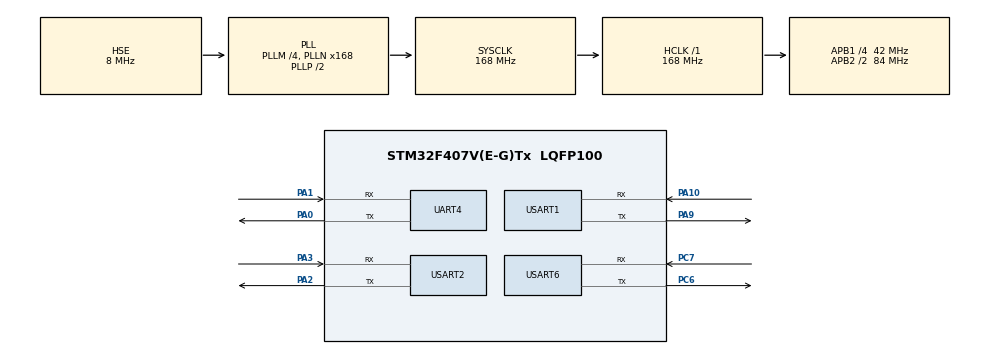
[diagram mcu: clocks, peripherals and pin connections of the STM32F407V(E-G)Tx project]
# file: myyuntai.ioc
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Dma.Request0=USART6_RX
Dma.Request1=USART1_RX
Dma.Request2=USART1_TX
Dma.Request3=USART2_TX
Dma.Request4=UART4_TX
Dma.UART4_TX.4.Direction=DMA_MEMORY_TO_PERIPH
Dma.UART4_TX.4.FIFOMode=DMA_FIFOMODE_DISABLE
Dma.UART4_TX.4.Instance=DMA1_Stream4
Dma.UART4_TX.4.MemDataAlignment=DMA_MDATAALIGN_BYTE
Dma.UART4_TX.4.MemInc=DMA_MINC_ENABLE
Dma.UART4_TX.4.Mode=DMA_CIRCULAR
Dma.UART4_TX.4.PeriphDataAlignment=DMA_PDATAALIGN_BYTE
Dma.UART4_TX.4.PeriphInc=DMA_PINC_DISABLE
Dma.UART4_TX.4.Priority=DMA_PRIORITY_MEDIUM
Dma.USART1_RX.1.Direction=DMA_PERIPH_TO_MEMORY
Dma.USART1_RX.1.FIFOMode=DMA_FIFOMODE_DISABLE
Dma.USART1_RX.1.Instance=DMA2_Stream2
Dma.USART1_RX.1.MemDataAlignment=DMA_MDATAALIGN_BYTE
Dma.USART1_RX.1.MemInc=DMA_MINC_ENABLE
Dma.USART1_RX.1.Mode=DMA_CIRCULAR
Dma.USART1_RX.1.PeriphDataAlignment=DMA_PDATAALIGN_BYTE
Dma.USART1_RX.1.PeriphInc=DMA_PINC_DISABLE
Dma.USART1_RX.1.Priority=DMA_PRIORITY_VERY_HIGH
Dma.USART1_TX.2.Direction=DMA_MEMORY_TO_PERIPH
Dma.USART1_TX.2.FIFOMode=DMA_FIFOMODE_DISABLE
Dma.USART1_TX.2.Instance=DMA2_Stream7
Dma.USART1_TX.2.MemDataAlignment=DMA_MDATAALIGN_BYTE
Dma.USART1_TX.2.MemInc=DMA_MINC_ENABLE
Dma.USART1_TX.2.Mode=DMA_CIRCULAR
Dma.USART1_TX.2.PeriphDataAlignment=DMA_PDATAALIGN_BYTE
Dma.USART1_TX.2.PeriphInc=DMA_PINC_DISABLE
Dma.USART1_TX.2.Priority=DMA_PRIORITY_LOW
Dma.USART2_TX.3.Direction=DMA_MEMORY_TO_PERIPH
Dma.USART2_TX.3.FIFOMode=DMA_FIFOMODE_DISABLE
Dma.USART2_TX.3.Instance=DMA1_Stream6
Dma.USART2_TX.3.MemDataAlignment=DMA_MDATAALIGN_BYTE
Dma.USART2_TX.3.MemInc=DMA_MINC_ENABLE
Dma.USART2_TX.3.Mode=DMA_CIRCULAR
Dma.USART2_TX.3.PeriphDataAlignment=DMA_PDATAALIGN_BYTE
Dma.USART2_TX.3.PeriphInc=DMA_PINC_DISABLE
Dma.USART2_TX.3.Priority=DMA_PRIORITY_MEDIUM
Dma.USART6_RX.0.Direction=DMA_PERIPH_TO_MEMORY
Dma.USART6_RX.0.FIFOMode=DMA_FIFOMODE_DISABLE
Dma.USART6_RX.0.Instance=DMA2_Stream1
Dma.USART6_RX.0.MemDataAlignment=DMA_MDATAALIGN_BYTE
Dma.USART6_RX.0.MemInc=DMA_MINC_ENABLE
Dma.USART6_RX.0.Mode=DMA_CIRCULAR
Dma.USART6_RX.0.PeriphDataAlignment=DMA_PDATAALIGN_BYTE
Dma.USART6_RX.0.PeriphInc=DMA_PINC_DISABLE
Dma.USART6_RX.0.Priority=DMA_PRIORITY_LOW
Mcu.Family=STM32F4
Mcu.Name=STM32F407V(E-G)Tx
Mcu.Package=LQFP100
NVIC.DMA1_Stream4_IRQn=true\:4\:0\:true\:false\:true\:false\:true\:true
NVIC.DMA1_Stream6_IRQn=true\:4\:0\:true\:false\:true\:false\:true\:true
NVIC.DMA2_Stream1_IRQn=true\:4\:0\:true\:false\:true\:false\:true\:true
NVIC.DMA2_Stream2_IRQn=true\:4\:0\:true\:false\:true\:false\:true\:true
NVIC.DMA2_Stream7_IRQn=true\:4\:0\:true\:false\:true\:false\:true\:true
NVIC.PriorityGroup=NVIC_PRIORITYGROUP_4
NVIC.TIM1_UP_TIM10_IRQn=true\:0\:0\:false\:false\:true\:true\:true\:true
NVIC.UART4_IRQn=true\:2\:0\:true\:false\:true\:false\:true\:true
NVIC.USART1_IRQn=true\:1\:0\:true\:false\:true\:false\:true\:true
NVIC.USART2_IRQn=true\:2\:0\:true\:false\:true\:false\:true\:true
NVIC.USART6_IRQn=true\:3\:0\:true\:false\:true\:true\:true\:true
PA0-WKUP.Mode=Asynchronous
PA0-WKUP.Signal=UART4_TX
PA1.Mode=Asynchronous
PA1.Signal=UART4_RX
PA10.Mode=Asynchronous
PA10.Signal=USART1_RX
PA13.Mode=Serial_Wire
PA13.Signal=SYS_JTMS-SWDIO
PA14.Mode=Serial_Wire
PA14.Signal=SYS_JTCK-SWCLK
PA2.Mode=Asynchronous
PA2.Signal=USART2_TX
PA3.Mode=Asynchronous
PA3.Signal=USART2_RX
PA9.Mode=Asynchronous
PA9.Signal=USART1_TX
PC14-OSC32_IN.Mode=LSE-External-Oscillator
PC14-OSC32_IN.Signal=RCC_OSC32_IN
PC15-OSC32_OUT.Mode=LSE-External-Oscillator
PC15-OSC32_OUT.Signal=RCC_OSC32_OUT
PC6.Mode=Asynchronous
PC6.Signal=USART6_TX
PC7.Mode=Asynchronous
PC7.Signal=USART6_RX
PH0-OSC_IN.Mode=HSE-External-Oscillator
PH0-OSC_IN.Signal=RCC_OSC_IN
PH1-OSC_OUT.Mode=HSE-External-Oscillator
PH1-OSC_OUT.Signal=RCC_OSC_OUT
ProjectManager.HeapSize=0x200
ProjectManager.StackSize=0x400
ProjectManager.TargetToolchain=MDK-ARM V5.32
RCC.48MHZClocksFreq_Value=84000000
RCC.AHBFreq_Value=168000000
RCC.APB1CLKDivider=RCC_HCLK_DIV4
RCC.APB1Freq_Value=42000000
RCC.APB1TimFreq_Value=84000000
RCC.APB2CLKDivider=RCC_HCLK_DIV2
RCC.APB2Freq_Value=84000000
RCC.APB2TimFreq_Value=168000000
RCC.CortexFreq_Value=168000000
RCC.HCLKFreq_Value=168000000
RCC.HSE_VALUE=8000000
RCC.HSI_VALUE=16000000
RCC.PLLM=4
RCC.PLLN=168
RCC.PLLSourceVirtual=RCC_PLLSOURCE_HSE
RCC.SYSCLKFreq_VALUE=168000000
RCC.SYSCLKSource=RCC_SYSCLKSOURCE_PLLCLK
RCC.VCOOutputFreq_Value=336000000
TIM1.AutoReloadPreload=TIM_AUTORELOAD_PRELOAD_ENABLE
TIM1.Period=9999
TIM1.Prescaler=167
UART4.VirtualMode=Asynchronous
USART1.VirtualMode=VM_ASYNC
USART2.VirtualMode=VM_ASYNC
USART6.VirtualMode=VM_ASYNC
VP_TIM1_VS_ClockSourceINT.Mode=Internal
board=custom

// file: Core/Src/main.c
/* USER CODE BEGIN Header */
/**
  ******************************************************************************
  * @file           : main.c
  * @brief          : Main program body
  ******************************************************************************
  * @attention
  *
  * Copyright (c) 2026 STMicroelectronics.
  * All rights reserved.
  *
  * This software is licensed under terms that can be found in the LICENSE file
  * in the root directory of this software component.
  * If no LICENSE file comes with this software, it is provided AS-IS.
  *
  ******************************************************************************
  */
/* USER CODE END Header */
#include "main.h"
#include "dma.h"
#include "tim.h"
#include "usart.h"
#include "gpio.h"

/* USER CODE BEGIN Includes */
#include "myprintf.h" // 阻塞打印
#include "myuart.h"   // DMA收发模块
#include "gimbal_control.h"
#include "Emm_V5.h"
#include "my_motor.h"
/* USER CODE END Includes */

void SystemClock_Config(void);

/* USER CODE BEGIN 0 */

// 引入跨文件信使变量与标志位
extern volatile uint8_t visual_data_ready;
extern volatile int visual_dx;
extern volatile int visual_dy;

extern uint8_t visual_raw_buf[];
extern volatile uint16_t visual_raw_len;

// 引入 PID 计算完毕后的全局目标速度变量
volatile int8_t Target_Speed_X = 0;
volatile int8_t Target_Speed_Y = 0;
volatile uint8_t New_Motor_Cmd_Flag = 0; // 电机指令更新标志
volatile uint8_t New_Forward_Flag = 0;   // 串口转发通知标志

/* USER CODE END 0 */

int main(void)
{

  /* MCU Configuration--------------------------------------------------------*/

  /* Reset of all peripherals, Initializes the Flash interface and the Systick. */
  HAL_Init();

  /* Configure the system clock */
  SystemClock_Config();

  /* Initialize all configured peripherals */
  MX_GPIO_Init();
  MX_DMA_Init();
  MX_USART6_UART_Init();
  MX_UART4_Init();
  MX_USART1_UART_Init();
  MX_USART2_UART_Init();
  MX_TIM1_Init();
  /* USER CODE BEGIN 2 */

	HAL_Delay(1000);
	Motor_Stop();
  printf("\r\n===================================\r\n");
  printf("  Gimbal System Initialized Success  \r\n");
  printf("===================================\r\n");

  MyUART_Init();         // 启动 DMA 接收池与中断拦截
  Gimbal_Motor_Init();   // 初始化云台 PID 与电机参数

  // 核心：启动 TIM1 控制定时中断 (10ms 节拍)
  HAL_TIM_Base_Start_IT(&htim1);

  // 缓存上一次下发的电机速度，实现“变化才发送”防轰炸机制
  int8_t last_speed_x = -128;
  int8_t last_speed_y = -128;
  /* USER CODE END 2 */

  /* Infinite loop */
  /* USER CODE BEGIN WHILE */
  while (1)
  {
    /* USER CODE BEGIN 3 */
		// 任务一：电机调控调度的四肢执行
      if (New_Motor_Cmd_Flag == 1)
      {
          New_Motor_Cmd_Flag = 0; // 消费标志

          // 【核心防轰炸】：只有当前后计算转速不同时，才真正向串口写硬件指令
          if (Target_Speed_X != last_speed_x || Target_Speed_Y != last_speed_y)
          {
              Motor_Set_Speed(Target_Speed_X, Target_Speed_Y);
              last_speed_x = Target_Speed_X;
              last_speed_y = Target_Speed_Y;
          }
      }

      // 任务二：串口1调试数据高级转发 (非阻塞，绝不卡死 CPU)
      if (New_Forward_Flag == 1)
      {
          New_Forward_Flag = 0; // 消费标志

          if (visual_raw_len > 0 && huart1.gState == HAL_UART_STATE_READY)
          {
              HAL_UART_Transmit_IT(&huart1, visual_raw_buf, visual_raw_len);
          }
      }
  }
  /* USER CODE END 3 */
}

void SystemClock_Config(void)
{
  RCC_OscInitTypeDef RCC_OscInitStruct = {0};
  RCC_ClkInitTypeDef RCC_ClkInitStruct = {0};

  /** Configure the main internal regulator output voltage
  */
  __HAL_RCC_PWR_CLK_ENABLE();
  __HAL_PWR_VOLTAGESCALING_CONFIG(PWR_REGULATOR_VOLTAGE_SCALE1);

  /** Initializes the RCC Oscillators according to the specified parameters
  * in the RCC_OscInitTypeDef structure.
  */
  RCC_OscInitStruct.OscillatorType = RCC_OSCILLATORTYPE_HSE;
  RCC_OscInitStruct.HSEState = RCC_HSE_ON;
  RCC_OscInitStruct.PLL.PLLState = RCC_PLL_ON;
  RCC_OscInitStruct.PLL.PLLSource = RCC_PLLSOURCE_HSE;
  RCC_OscInitStruct.PLL.PLLM = 4;
  RCC_OscInitStruct.PLL.PLLN = 168;
  RCC_OscInitStruct.PLL.PLLP = RCC_PLLP_DIV2;
  RCC_OscInitStruct.PLL.PLLQ = 4;
  if (HAL_RCC_OscConfig(&RCC_OscInitStruct) != HAL_OK)
  {
    Error_Handler();
  }

  /** Initializes the CPU, AHB and APB buses clocks
  */
  RCC_ClkInitStruct.ClockType = RCC_CLOCKTYPE_HCLK|RCC_CLOCKTYPE_SYSCLK
                              |RCC_CLOCKTYPE_PCLK1|RCC_CLOCKTYPE_PCLK2;
  RCC_ClkInitStruct.SYSCLKSource = RCC_SYSCLKSOURCE_PLLCLK;
  RCC_ClkInitStruct.AHBCLKDivider = RCC_SYSCLK_DIV1;
  RCC_ClkInitStruct.APB1CLKDivider = RCC_HCLK_DIV4;
  RCC_ClkInitStruct.APB2CLKDivider = RCC_HCLK_DIV2;

  if (HAL_RCC_ClockConfig(&RCC_ClkInitStruct, FLASH_LATENCY_5) != HAL_OK)
  {
    Error_Handler();
  }
}

/* USER CODE BEGIN 4 */

/**
 * @brief 定时器溢出中断回调函数 (TIM1 触发，每 10ms 进一次)
 */
void HAL_TIM_PeriodElapsedCallback(TIM_HandleTypeDef *htim)
{
    if (htim->Instance == TIM1)
    {
        // 1. 安全防线：检查摄像头是否断联超时
        Gimbal_Watchdog_Task();

        // 2. 控制大脑：一旦后台解好包新的坐标数据
        if (visual_data_ready == 1)
        {
            visual_data_ready = 0; // 消费就绪信号

            // 计算 PID，直接调控速度，将结果写入全局缓冲中
            Gimbal_Calculate_Control_Flow((float)visual_dx, (float)visual_dy);
        }
    }
}

/* USER CODE END 4 */

void Error_Handler(void)
{
  __disable_irq();
  while (1)
  {
  }
}
